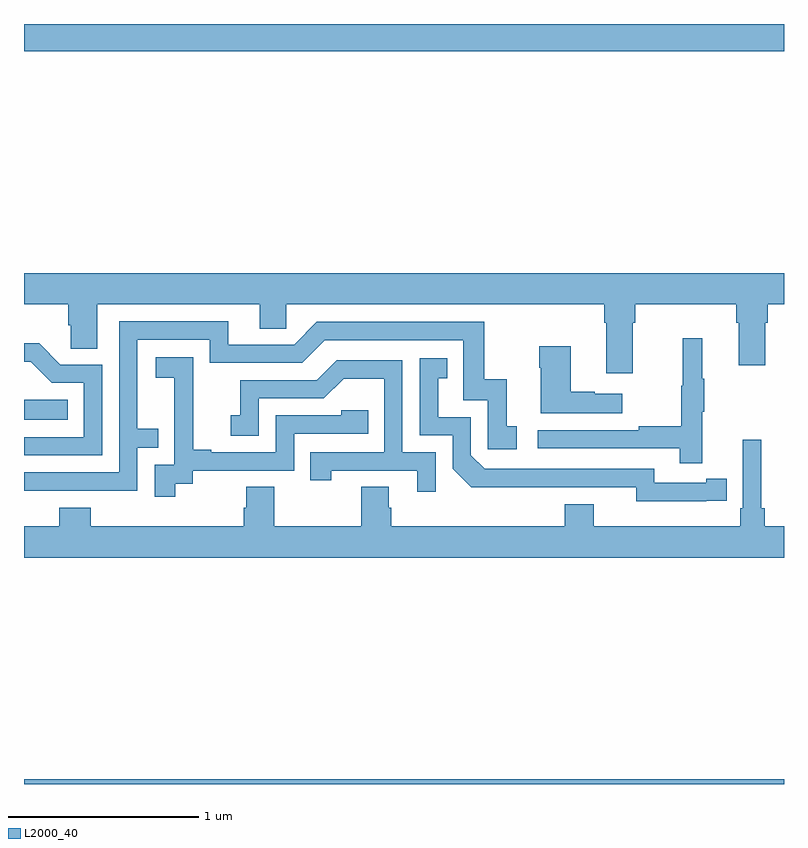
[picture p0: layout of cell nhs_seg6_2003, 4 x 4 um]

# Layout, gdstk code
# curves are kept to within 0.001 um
import gdstk
lib = gdstk.Library(unit=1e-6, precision=1e-09)
def R(c, l, rs):  # rectangles x0, y0, x1, y1
    for r in rs: c.add(gdstk.rectangle(r[:2], r[2:], *l))
def P(c, l, *ps):  # polygons
    for p in ps: c.add(gdstk.Polygon(p, *l))
L2000_40 = (2000, 40)

nhs_seg6_2003 = lib.new_cell('nhs_seg6_2003')
R(nhs_seg6_2003, L2000_40, [(231,923.5,235,923.524), (231,925.418,231.23,925.522), (231,927.356,235,927.5)])
P(nhs_seg6_2003, L2000_40, [(231,926.024),(231.233,926.024),(231.233,925.915),(231.246,925.915),(231.246,925.792),(231.385,925.792),(231.385,926.024),(232.241,926.024),(232.241,925.897),(232.38,925.897),(232.38,926.024),(234.053,926.024),(234.053,925.928),(234.065,925.928),(234.065,925.662),(234.205,925.662),(234.205,925.928),(234.218,925.928),(234.218,926.024),(234.749,926.024),(234.749,925.928),(234.761,925.928),(234.761,925.704),(234.901,925.704),(234.901,925.928),(234.914,925.928),(234.914,926.024),(235,926.024),(235,926.188),(231,926.188)],
  [(231.101,925.044),(231.597,925.044),(231.597,925.269),(231.707,925.269),(231.707,925.37),(231.597,925.37),(231.597,925.839),(231.978,925.839),(231.978,925.716),(232.464,925.716),(232.584,925.836),(233.313,925.836),(233.313,925.521),(233.442,925.521),(233.442,925.263),(233.593,925.263),(233.593,925.383),(233.54,925.383),(233.54,925.63),(233.422,925.63),(233.422,925.932),(232.542,925.932),(232.422,925.812),(232.075,925.812),(232.075,925.935),(231.501,925.935),(231.501,925.14),(231,925.14),(231,925.043)],
  [(234.569,925.459),(234.58,925.459),(234.58,925.633),(234.569,925.633),(234.569,925.846),(234.466,925.846),(234.466,925.596),(234.459,925.596),(234.459,925.382),(234.235,925.382),(234.235,925.362),(233.703,925.362),(233.703,925.266),(234.451,925.266),(234.451,925.188),(234.569,925.188)],
  [(231.411,925.707),(231.192,925.707),(231.079,925.82),(231,925.82),(231,925.722),(231.035,925.722),(231.146,925.611),(231.315,925.611),(231.315,925.326),(231,925.326),(231,925.23),(231.411,925.23)],
  [(234.148,925.555),(234.005,925.555),(234.005,925.565),(233.878,925.565),(233.878,925.804),(233.713,925.804),(233.713,925.691),(233.72,925.691),(233.72,925.451),(234.148,925.451)],
  [(231.796,925.081),(231.888,925.081),(231.888,925.149),(232.422,925.149),(232.422,925.344),(232.811,925.344),(232.811,925.467),(232.671,925.467),(232.671,925.44),(232.326,925.44),(232.326,925.245),(231.985,925.245),(231.985,925.258),(231.89,925.258),(231.89,925.541),(231.891,925.541),(231.891,925.747),(231.693,925.747),(231.693,925.637),(231.791,925.637),(231.791,925.409),(231.792,925.409),(231.792,925.179),(231.687,925.179),(231.687,925.011),(231.796,925.011)],
  [(234.59,924.99),(234.698,924.99),(234.698,925.106),(234.59,925.106),(234.59,925.086),(234.318,925.086),(234.318,925.158),(233.424,925.158),(233.352,925.23),(233.352,925.431),(233.179,925.431),(233.179,925.635),(233.228,925.635),(233.228,925.741),(233.082,925.741),(233.082,925.335),(233.256,925.335),(233.256,925.158),(233.354,925.061),(234.222,925.062),(234.222,924.989)],
  [(233.166,925.245),(232.992,925.245),(232.992,925.731),(232.646,925.731),(232.541,925.626),(232.138,925.626),(232.138,925.441),(232.089,925.441),(232.089,925.332),(232.236,925.332),(232.236,925.53),(232.578,925.53),(232.682,925.634),(232.896,925.634),(232.896,925.245),(232.507,925.245),(232.507,925.098),(232.618,925.098),(232.618,925.149),(233.069,925.149),(233.069,925.038),(233.166,925.038)],
  [(235,924.856),(234.899,924.856),(234.899,924.952),(234.88,924.952),(234.88,925.312),(234.783,925.312),(234.783,924.952),(234.77,924.952),(234.77,924.856),(233.998,924.856),(233.998,924.973),(233.846,924.973),(233.846,924.856),(232.934,924.856),(232.934,924.954),(232.921,924.954),(232.921,925.064),(232.774,925.064),(232.774,924.856),(232.317,924.856),(232.317,925.064),(232.169,925.064),(232.169,924.954),(232.157,924.954),(232.157,924.856),(231.35,924.856),(231.35,924.955),(231.185,924.955),(231.185,924.856),(231,924.856),(231,924.692),(235,924.692)])

lib.write_gds('nhs_seg6_2003.gds')
